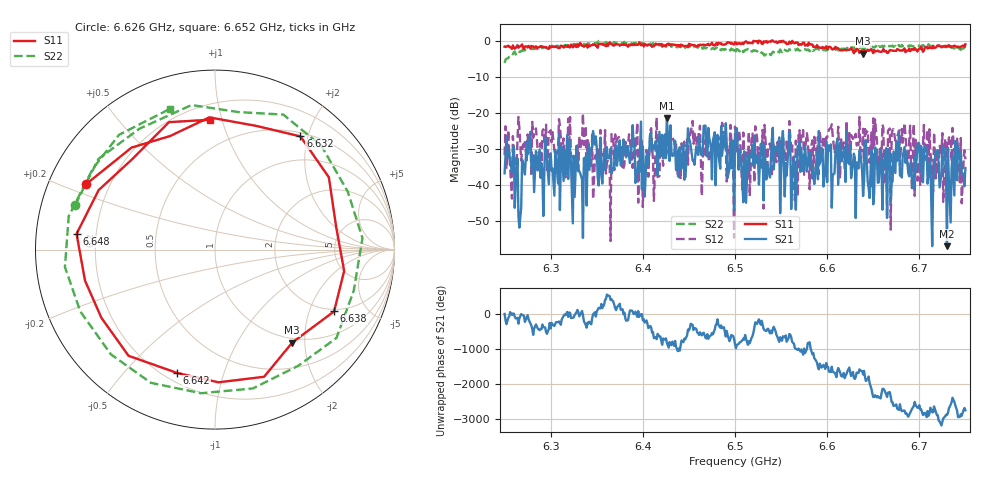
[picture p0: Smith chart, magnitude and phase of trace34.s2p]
# Hz S RI R 50
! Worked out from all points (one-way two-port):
!   401 points, 6.25 GHz to 6.75 GHz, reference 50 ohm
!   highest |S21| = -21.44 dB at 6.426 GHz (marker M1); lowest = -57.0 dB at 6.73 GHz (marker M2)
!   lowest |S11| = -3.4 dB at 6.639 GHz (marker M3), VSWR 5.12, Z = 46.1 - j87.4 ohm
!   |S11| at or under -10 dB: nowhere
!   |S22| runs from -6.0 to 0.1 dB; largest |S21 - S12| = 0.13
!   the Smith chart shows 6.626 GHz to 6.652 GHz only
!   S11 on the Smith chart (normalised r, x): 6.626 GHz: 0.11, +0.24; 6.632 GHz: 0.56, +1.88; 6.638 GHz: 1.91, -2.97; 6.642 GHz: 0.25, -0.71; 6.648 GHz: 0.13, +0.06; 6.652 GHz: 0.30, +0.91
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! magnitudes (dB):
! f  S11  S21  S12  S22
! 6.25 GHz  -1.5  -36.7  -31.7  -6.0
! 6.264 GHz  -1.1  -32.6  -27.4  -2.8
! 6.276 GHz  -1.3  -29.0  -31.1  -2.3
! 6.334 GHz  -1.3  -38.4  -27.7  -0.9
! 6.362 GHz  -1.3  -32.5  -33.2  -0.5
! 6.369 GHz  -1.2  -35.5  -35.9  -0.2
! 6.418 GHz  -0.8  -25.2  -37.5  -1.2
! 6.426 GHz  -0.9  -21.4  -27.2  -1.0
! 6.5 GHz  -0.3  -27.9  -23.8  -1.8
! 6.584 GHz  -0.9  -38.2  -27.6  -2.7
! 6.626 GHz  -1.9  -38.1  -26.1  -1.7
! 6.632 GHz  -2.0  -33.7  -29.0  -1.5
! 6.638 GHz  -2.5  -36.5  -30.5  -1.9
! 6.639 GHz  -3.4  -43.1  -24.4  -1.5
! 6.642 GHz  -2.9  -27.5  -25.8  -1.9
! 6.648 GHz  -2.2  -30.3  -25.4  -1.5
! 6.652 GHz  -2.8  -29.5  -21.8  -1.7
! 6.668 GHz  -2.5  -31.6  -24.3  -1.3
! 6.672 GHz  -2.6  -30.7  -24.5  -1.6
! 6.7 GHz  -2.1  -28.7  -33.7  -1.5
! 6.73 GHz  -1.3  -57.0  -28.5  -2.0
! 6.75 GHz  -0.9  -35.3  -32.9  -2.2
